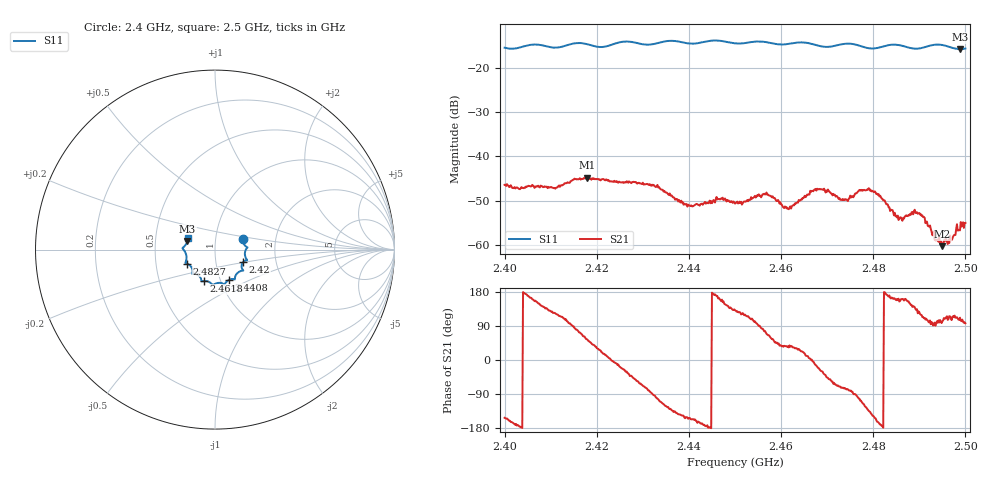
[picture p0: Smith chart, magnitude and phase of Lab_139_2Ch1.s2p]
# Hz S RI R 50
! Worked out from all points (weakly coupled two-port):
!   601 points, 2.4 GHz to 2.5 GHz, reference 50 ohm
!   highest |S21| = -44.78 dB at 2.4178 GHz (marker M1); lowest = -60.2 dB at 2.495 GHz (marker M2)
!   lowest |S11| = -15.9 dB at 2.4988 GHz (marker M3), VSWR 1.38, Z = 36.5 + j3.4 ohm
!   |S11| at or under -10 dB: start of sweep to end of sweep
!   S12 and S22 are empty: the file has one direction only
!   S11 on the Smith chart (normalised r, x): 2.4 GHz: 1.36, +0.17; 2.42 GHz: 1.36, -0.19; 2.4408 GHz: 1.10, -0.38; 2.4618 GHz: 0.84, -0.30; 2.4827 GHz: 0.72, -0.12; 2.5 GHz: 0.73, +0.09
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2.4e9  0.1553 0.0616  -0.00425 -0.00221  0 0  0 0
2.411e9  0.1666 -0.0177  -0.00237 0.00363  0 0  0 0
2.416667e9  0.1788 -0.0591  0.00202 0.00518  0 0  0 0
2.417833e9  0.1737 -0.0599  0.00331 0.00472  0 0  0 0
2.42e9  0.1572 -0.0693  0.00472 0.0029  0 0  0 0
2.433333e9  0.1119 -0.1526  -0.00106 -0.00434  0 0  0 0
2.440833e9  0.0781 -0.1687  -0.00252 -0.0011  0 0  0 0
2.4465e9  0.051 -0.1942  -0.0032 0.000932  0 0  0 0
2.45e9  0.0273 -0.1852  -0.00195 0.00221  0 0  0 0
2.456667e9  -0.0164 -0.1929  0.0011 0.00359  0 0  0 0
2.461833e9  -0.0607 -0.1752  0.00207 0.00165  0 0  0 0
2.466667e9  -0.0764 -0.1683  0.00409 5.6e-05  0 0  0 0
2.468833e9  -0.0854 -0.1502  0.00369 -0.00212  0 0  0 0
2.474e9  -0.1257 -0.1361  0.000792 -0.00321  0 0  0 0
2.479e9  -0.1287 -0.1033  -0.00302 -0.00316  0 0  0 0
2.482667e9  -0.1576 -0.0776  -0.00302 0.000222  0 0  0 0
2.483333e9  -0.1616 -0.0764  -0.00262 0.000593  0 0  0 0
2.486e9  -0.1632 -0.069  -0.00194 0.000695  0 0  0 0
2.4905e9  -0.165 -0.0156  -0.00103 0.00188  0 0  0 0
2.495e9  -0.179 0.0106  -0.000199 0.000957  0 0  0 0
2.498833e9  -0.1543 0.0454  -0.000544 0.00137  0 0  0 0
2.5e9  -0.1513 0.0626  -0.000213 0.00178  0 0  0 0
